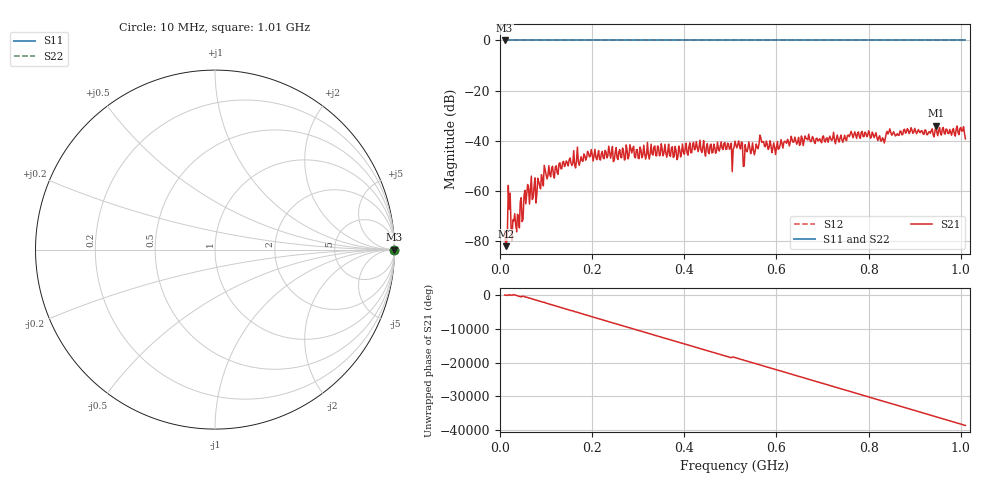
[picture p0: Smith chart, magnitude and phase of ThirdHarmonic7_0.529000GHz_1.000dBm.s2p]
! 8/17/2025 3:41:47 PM
! C:\ANRITSUVNA\TEMP\TEMP.S2P
! CHANNEL.1
! TR.MEASUREMENT
! RAW.DATA
! RF.CORRECTION.OFF
! AVERAGING.OFF
! IF.BANDWIDTH: 5KHZ
! SWEEPTYPE:  FREQ.SWEEP(Linear)
! Reference Plane Port Info
! PORT:  PORT1  PORT2
! DISTANCE:  0  m  0  m
! TIME:  0  s  0  s
! PHASE.OFFSET:  0  deg.  0  deg.
! LOSS:  0  dB  0  dB
! REF.LOSS:  0  dB  0  dB
! REF.FREQ:  0  Hz  0  Hz
! Power Info
! POWER:  -20  dBm  -20  dBm
! EFF.POWER:  -20  dBm  -20  dBm
! SOURCE.ATTEN:  0  dB  0  dB
! TEST.ATTEN:  0  dB  0  dB
# GHZ S RI R 50.0
! FREQ.GHZ  S11RE  S11IM  S21RE  S21IM  S12RE  S12IM  S22RE  S22IM
!; PortSelection: Port_12
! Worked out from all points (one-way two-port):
!   501 points, 10 MHz to 1.01 GHz, reference 50 ohm
!   highest |S21| = -34.00 dB at 946 MHz (marker M1); lowest = -82.2 dB at 14 MHz (marker M2)
!   lowest |S11| = 0.0 dB at 10 MHz (marker M3)
!   |S11| at or under -10 dB: nowhere
!   |S22| runs from 0.0 to 0.0 dB; largest |S21 - S12| = 1
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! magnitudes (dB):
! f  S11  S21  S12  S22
! 10 MHz  0.0  -76.3  0.0  0.0
! 14 MHz  0.0  -82.2  0.0  0.0
! 20 MHz  0.0  -67.4  0.0  0.0
! 28 MHz  0.0  -71.6  0.0  0.0
! 38 MHz  0.0  -69.4  0.0  0.0
! 58 MHz  0.0  -61.6  0.0  0.0
! 74 MHz  0.0  -58.3  0.0  0.0
! 94 MHz  0.0  -58.1  0.0  0.0
! 178 MHz  0.0  -48.0  0.0  0.0
! 344 MHz  0.0  -42.7  0.0  0.0
! 510 MHz  0.0  -40.2  0.0  0.0
! 522 MHz  0.0  -43.4  0.0  0.0
! 532 MHz  0.0  -41.7  0.0  0.0
! 536 MHz  0.0  -44.5  0.0  0.0
! 568 MHz  0.0  -40.7  0.0  0.0
! 594 MHz  0.0  -41.0  0.0  0.0
! 678 MHz  0.0  -38.4  0.0  0.0
! 796 MHz  0.0  -38.5  0.0  0.0
! 830 MHz  0.0  -38.9  0.0  0.0
! 844 MHz  0.0  -36.6  0.0  0.0
! 946 MHz  0.0  -34.0  0.0  0.0
! 1.01 GHz  0.0  -39.3  0.0  0.0
